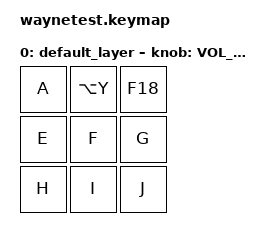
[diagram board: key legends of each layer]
#include <behaviors.dtsi>
#include <dt-bindings/zmk/keys.h>


/ {
    chosen {
		zephyr,console = &cdc_acm_uart;
	};

    keymap {
        compatible = "zmk,keymap";
        default_layer  {
            bindings = <
                &kp A &kp LA(Y) &kp F18
                &kp E &kp F &kp G 
                &kp H &kp I &kp J
            >;

            sensor-bindings = <&inc_dec_kp C_VOL_UP C_VOL_DN>;
        };
    };
};


// Allow USB logging
&usbd {
	status = "okay";
	cdc_acm_uart: cdc_acm_uart {
		compatible = "zephyr,cdc-acm-uart";
		label = "CDC_ACM_0";
	};
};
